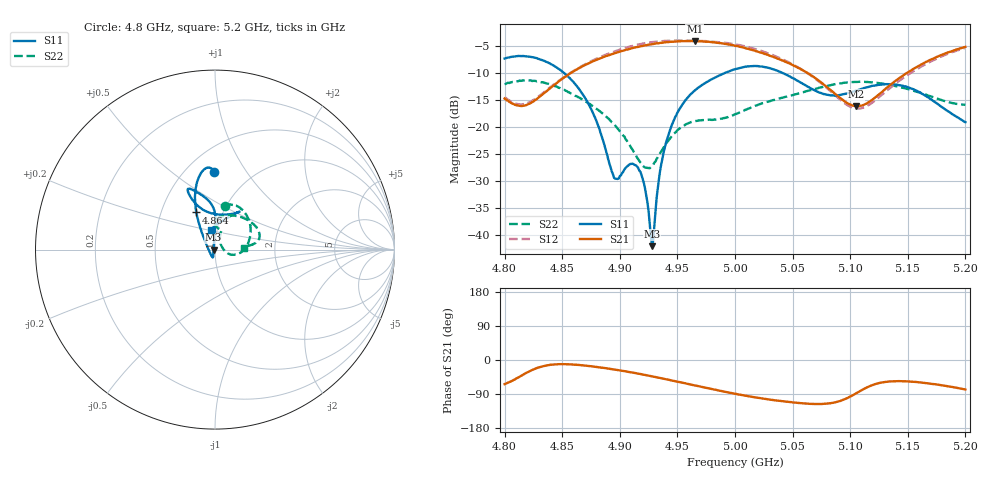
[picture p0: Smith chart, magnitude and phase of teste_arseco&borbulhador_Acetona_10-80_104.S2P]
! Network Analyzer HP8722D
! Hewlett-Packard
! Data name: Linha & Wilkinson
! Saver's name: Rodrigo Anjos
! Comments: Teste da utilização de aquisição
! continua pelo VNA HP8722D
! Time and date: 25/4/2025 16:08
!  Frequency  S11  S21  S12  S22
# HZ  S  MA R 50
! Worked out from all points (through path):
!   401 points, 4.8 GHz to 5.2 GHz, reference 50 ohm
!   highest |S21| = -3.97 dB at 4.965 GHz (marker M1); lowest = -16.1 dB at 5.105 GHz (marker M2)
!   lowest |S11| = -42.2 dB at 4.928 GHz (marker M3), VSWR 1.02, Z = 49.2 - j0.0439 ohm
!   |S11| at or under -10 dB: 4.852 GHz to 4.99 GHz (138.4 MHz wide, 2.81 % of centre); 5.042 GHz to end of sweep
!   |S22| runs from -27.7 to -11.3 dB; largest |S21 - S12| = 1.2
!   S11 on the Smith chart (normalised r, x): 4.8 GHz: 0.68, +0.73; 4.864 GHz: 0.75, +0.33; 5.2 GHz: 0.94, +0.21
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4.8e9  0.4346 90.6  0.1843 -63.7  0.1901 70.0  0.25 77.2
4.82e9  0.4532 96.9  0.1623 -32.0  0.1678 98.8  0.2719 61.5
4.864e9  0.2313 116.6  0.3516 -12.9  0.3532 120.9  0.1895 11.9
4.867e9  0.208 118.4  0.3655 -13.8  0.3689 120.6  0.1818 8.3
4.88e9  0.1117 128.9  0.424 -18.4  0.4344 118.1  0.1473 -5.5
4.895e9  0.03374 -173.5  0.4854 -24.8  0.5025 113.6  0.1059 -15.9
4.91e9  0.04538 -106.9  0.5402 -32.7  0.5666 107.0  0.06389 -14.2
4.917e9  0.0393 -104.6  0.5636 -36.7  0.5896 103.3  0.04822 -0.9
4.922e9  0.02643 -109.1  0.5768 -39.5  0.6024 100.7  0.04197 16.9
4.928e9  0.007792 -176.7  0.5901 -43.0  0.6172 96.8  0.04361 41.7
4.93e9  0.01218 125.3  0.5966 -44.3  0.6196 95.6  0.04666 48.9
4.934e9  0.03295 100.0  0.6027 -47.0  0.6277 93.1  0.05499 58.5
4.939e9  0.06431 93.6  0.6142 -49.9  0.6353 89.8  0.06696 66.1
4.946e9  0.1099 90.0  0.6247 -54.7  0.6386 85.6  0.08427 69.9
4.965e9  0.2188 90.9  0.6331 -67.2  0.6364 73.4  0.1134 71.7
5e9  0.3457 109.1  0.5712 -89.1  0.5916 50.7  0.1314 88.6
5.029e9  0.3562 115.0  0.4681 -103.8  0.4845 34.2  0.1728 85.6
5.067e9  0.226 105.0  0.2994 -115.8  0.2966 23.6  0.2225 56.8
5.105e9  0.2189 65.3  0.1564 -88.2  0.149 54.7  0.263 25.4
5.134e9  0.2501 57.3  0.243 -56.6  0.228 88.7  0.2475 12.3
5.168e9  0.1881 69.3  0.4154 -61.9  0.398 85.1  0.1957 7.0
5.2e9  0.111 100.6  0.5575 -77.8  0.5455 70.0  0.1611 3.7
